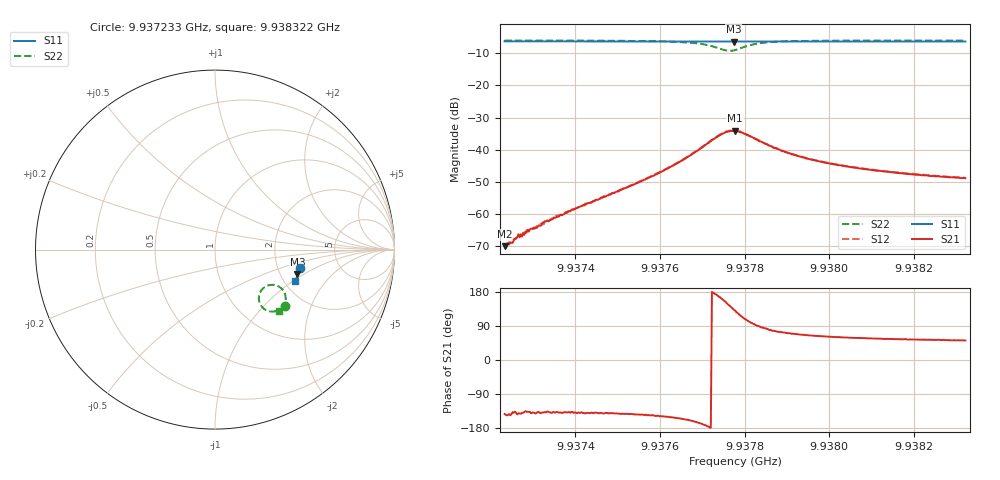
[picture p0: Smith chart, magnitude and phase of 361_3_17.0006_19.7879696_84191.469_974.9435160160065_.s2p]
#  HZ  S  RI  R  50.00
! Rohde & Schwarz Vector Network Analyzer
! Rohde-Schwarz,ZNB20-2Port,1311601062101988,3.16
! Created: UTC 3/20/2024, 11:08:15 PM
! freq[Hz]  re:S11  im:S11  re:S21  im:S21  re:S12  im:S12  re:S22  im:S22
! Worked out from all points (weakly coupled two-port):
!   401 points, 9.937233 GHz to 9.938322 GHz, reference 50 ohm
!   highest |S21| = -34.08 dB at 9.937777 GHz (marker M1); lowest = -70.0 dB at 9.937233 GHz (marker M2)
!   lowest |S11| = -6.4 dB at 9.937775 GHz (marker M3), VSWR 2.84, Z = 124 - j44.3 ohm
!   |S11| at or under -10 dB: nowhere
!   |S22| runs from -9.3 to -6.0 dB; largest |S21 - S12| = 0.00081
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9.9372326e9  0.4725 -0.1037  -0.000251 -0.000194  -0.000279 -0.000171  0.3884 -0.3122
9.937249e9  0.4722 -0.1049  -0.000283 -0.000219  -0.000302 -0.000224  0.3871 -0.3135
9.9372599e9  0.472 -0.1056  -0.000325 -0.000276  -0.000308 -0.000271  0.3863 -0.3142
9.9372816e9  0.4715 -0.1072  -0.000363 -0.000361  -0.000394 -0.000347  0.3846 -0.3158
9.9373143e9  0.4708 -0.1093  -0.000498 -0.00045  -0.000506 -0.00043  0.3822 -0.318
9.9373279e9  0.4706 -0.1102  -0.000574 -0.00052  -0.000567 -0.000486  0.381 -0.3189
9.9373579e9  0.47 -0.1121  -0.00068 -0.000612  -0.000688 -0.000626  0.3786 -0.3213
9.9374151e9  0.4688 -0.1161  -0.000991 -0.000897  -0.00103 -0.000877  0.373 -0.3258
9.9374968e9  0.467 -0.1215  -0.00173 -0.0014  -0.00178 -0.00137  0.3629 -0.3327
9.9375976e9  0.4646 -0.1282  -0.00369 -0.00232  -0.00377 -0.0023  0.3413 -0.3423
9.937652e9  0.4631 -0.1319  -0.00615 -0.00284  -0.00633 -0.00278  0.3184 -0.3457
9.9377065e9  0.4612 -0.1355  -0.0116 -0.00167  -0.0119 -0.00142  0.2745 -0.3311
9.9377474e9  0.4595 -0.1373  -0.0166 0.00587  -0.0167 0.00656  0.2443 -0.2654
9.9377746e9  0.4589 -0.1381  -0.0133 0.0145  -0.0131 0.015  0.2826 -0.2055
9.9377773e9  0.459 -0.138  -0.0129 0.015  -0.0123 0.0155  0.2891 -0.2022
9.9377937e9  0.4591 -0.1388  -0.00762 0.0168  -0.00723 0.0172  0.3298 -0.1967
9.9378345e9  0.4594 -0.1417  0.000222 0.0136  0.000656 0.0139  0.3842 -0.2345
9.9378972e9  0.458 -0.1462  0.00295 0.00869  0.00317 0.00868  0.3937 -0.2796
9.9379598e9  0.4565 -0.1506  0.00302 0.00627  0.00316 0.00632  0.3883 -0.3017
9.9380361e9  0.4546 -0.1557  0.00284 0.00481  0.00291 0.00477  0.3809 -0.3165
9.9381423e9  0.4517 -0.1626  0.00257 0.00373  0.00266 0.00373  0.3717 -0.3295
9.938322e9  0.4467 -0.1741  0.00224 0.00281  0.00236 0.00283  0.3587 -0.3438
